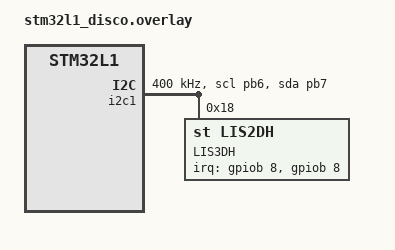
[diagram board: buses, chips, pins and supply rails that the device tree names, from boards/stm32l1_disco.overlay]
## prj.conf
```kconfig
### required for driver but selected by board/SoC already ### 
CONFIG_GPIO=y

### required for driver and not selected by board/SoC ###
CONFIG_I2C=y
CONFIG_SENSOR=y
CONFIG_LIS2DH=y
CONFIG_LIS2DH_TRIGGER_OWN_THREAD=y
CONFIG_LIS2DH_ODR_RUNTIME=y
CONFIG_LIS2DH_ACCEL_RANGE_16G=y
CONFIG_LIS2DH_OPER_MODE_RUNTIME=y
CONFIG_LIS2DH_AXES_RUNTIME=y
CONFIG_PM_DEVICE=y

### Debugging ###
CONFIG_LOG=y
CONFIG_LOG_MODE_IMMEDIATE=y
CONFIG_CBPRINTF_FP_SUPPORT=y
```

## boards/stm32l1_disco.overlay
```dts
&i2c1 {
    clock-frequency = <I2C_BITRATE_FAST>;
    status = "okay";
    pinctrl-0 = <&i2c1_scl_pb6 &i2c1_sda_pb7>;

    lis3dh: lis2dh@18 {
        status = "okay";
        compatible = "st,lis2dh";
        label = "LIS3DH";
        reg = <0x18>;
    	irq-gpios= <&gpiob 8 GPIO_ACTIVE_HIGH>, <&gpiob 8 GPIO_ACTIVE_HIGH>;
    };
};
```

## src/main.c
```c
/*
 * Copyright (c) 2019 Nordic Semiconductor ASA
 *
 * SPDX-License-Identifier: Apache-2.0
 */

#include <stdio.h>
#include <zephyr.h>
#include <device.h>
#include <drivers/sensor.h>
#include <drivers/sensor/lis2dh.h>

static void fetch_and_display(const struct device *sensor)
{
	static unsigned int count;
	struct sensor_value accel[3];
	const char *overrun = "";
	int rc = sensor_sample_fetch(sensor);

	++count;
	if (rc == -EBADMSG) {
		/* Sample overrun.  Ignore in polled mode. */
		if (IS_ENABLED(CONFIG_LIS2DH_TRIGGER)) {
			overrun = "[OVERRUN] ";
		}
		rc = 0;
	}
	if (rc == 0) {
		rc = sensor_channel_get(sensor,
					SENSOR_CHAN_ACCEL_XYZ,
					accel);
	}
	if (rc < 0) {
		printf("ERROR: Update failed: %d\n", rc);
	} else {
		printf("#%u @ %u ms: %sx %f , y %f , z %f\n",
		    	count, k_uptime_get_32(), overrun,
		    	sensor_value_to_double(&accel[0]),
		    	sensor_value_to_double(&accel[1]),
		    	sensor_value_to_double(&accel[2]));
	}
}

#if CONFIG_LIS2DH_ODR_RUNTIME
void ODR_set(const struct device *sensor, uint16_t val1){
	const struct sensor_value ODR_value = {val1, 0}; //0, 1, 10, 25, 50, 100, 200, 400, 1620, 1344, 5376

	int status = sensor_attr_set(
		sensor,
		SENSOR_CHAN_ACCEL_XYZ,
		SENSOR_ATTR_SAMPLING_FREQUENCY,
		&ODR_value 
	);
	if(unlikely(status < 0)){
		printf("Failed to set ODR (%u) with erno: %i\n", ODR_value.val1, status);
	} else if(ODR_value.val1 == 0){
		printf("\033[1;34mSet ODR to \033[1;35m0\033[1;36m (power-down)\033[0m\n");
	} else {
		printf("\033[1;34mSet ODR to \033[1;35m%u\033[0m\n", ODR_value.val1);
	}
	
}
#endif

#if CONFIG_LIS2DH_TRIGGER
void slope_TH_set(const struct device *sensor, uint16_t val1, uint16_t val2){
	const struct sensor_value slope_TH_value = {val1, val2};
	
	int status = sensor_attr_set(sensor,
		SENSOR_CHAN_ACCEL_XYZ,
		SENSOR_ATTR_SLOPE_TH,
		&slope_TH_value
	);

	if(status < 0){
		printf("Failed to set SLOPE_TH (%u) with erno: %i", slope_TH_value.val1, status);
	}
}

void slope_DUR_set(const struct device *sensor, uint8_t val1){
	const struct sensor_value slope_DUR_value = {val1, 0};
	
	int status = sensor_attr_set(sensor,
		SENSOR_CHAN_ACCEL_XYZ,
		SENSOR_ATTR_SLOPE_DUR,
		&slope_DUR_value
	);

	if(status < 0){
		printf("Failed to set SLOPE_DUR (%u) with erno: %i", slope_DUR_value.val1, status);
	}
}

static void trigger_handler(const struct device *dev,
			    struct sensor_trigger *trig)
{
	fetch_and_display(dev);
}
#endif

void act_TH_set(const struct device *sensor, uint16_t val1, uint16_t val2){
	const struct sensor_value act_TH_value = {val1, val2};
	
	int status = sensor_attr_set(sensor,
		SENSOR_CHAN_ACCEL_XYZ,
		SENSOR_ATTR_LIS2DH_ACT_TH,
		&act_TH_value
	);

	if(status < 0){
		printf("Failed to set ACT_TH (%u) with erno: %i", act_TH_value.val1, status);
	}
}

void act_DUR_set(const struct device *sensor, uint16_t val1){
	const struct sensor_value act_DUR_value = {val1, 0};
	
	int status = sensor_attr_set(sensor,
		SENSOR_CHAN_ACCEL_XYZ,
		SENSOR_ATTR_LIS2DH_ACT_DUR,
		&act_DUR_value
	);

	if(status < 0){
		printf("Failed to set ACT_DUR (%u) with erno: %i", act_DUR_value.val1, status);
	}
}

void sample_pm_device_cb(const struct device *dev, int status, uint32_t *state, void *arg){
	printf("yeet? dev: %s, status: %i, state: %ls", dev->name, status, state);
}


void main(void)
{
	const struct device *sensor = device_get_binding(DT_LABEL(DT_INST(0, st_lis2dh)));

	if (unlikely(sensor == NULL)) {
		printf("Could not get %s device\n",
		       DT_LABEL(DT_INST(0, st_lis2dh)));
		return;
	}

	//act_TH_set(sensor, 8, 0);
	//act_DUR_set(sensor, 1);
	ODR_set(sensor, (uint16_t)10);

#if CONFIG_LIS2DH_TRIGGER
	struct sensor_trigger trig;
	int rc;

	trig.type = SENSOR_TRIG_DATA_READY;
	trig.chan = SENSOR_CHAN_ACCEL_XYZ;

	rc = sensor_trigger_set(sensor, &trig, trigger_handler);
	if (rc != 0) {
		printf("Failed to set trigger: %d\n", rc);
		return;
	}

	//slope_TH_set(sensor, 8, 0);
	//slope_DUR_set(sensor, 1);
	printf("Waiting for triggers\n");
	k_sleep(K_MSEC(3000));
	while (true) {
		/* power down the sensor */
		pm_device_state_set(sensor, PM_DEVICE_STATE_LOW_POWER, NULL, NULL);
		k_sleep(K_MSEC(1000));
		
		/* re-enable the sensor */
		pm_device_state_set(sensor, PM_DEVICE_STATE_ACTIVE, NULL, NULL);

#if	defined(CONFIG_LIS2DH_AXES_RUNTIME)
		k_sleep(K_MSEC(500));
		lis2dh_axis_set(sensor, SENSOR_CHAN_ACCEL_X, false);
		k_sleep(K_MSEC(500));
		lis2dh_axis_set(sensor, SENSOR_CHAN_ACCEL_X, true);
		lis2dh_axis_set(sensor, SENSOR_CHAN_ACCEL_Y, false);
		k_sleep(K_MSEC(500));
		lis2dh_axis_set(sensor, SENSOR_CHAN_ACCEL_Y, true);
		lis2dh_axis_set(sensor, SENSOR_CHAN_ACCEL_Z, false);
		k_sleep(K_MSEC(500));
		lis2dh_axis_set(sensor, SENSOR_CHAN_ACCEL_Z, true);
#endif
#if defined(CONFIG_LIS2DH_OPER_MODE_RUNTIME)
		k_sleep(K_MSEC(500));
		lis2dh_set_oper_mode(sensor, OPER_MODE_LOW_POWER);
		k_sleep(K_MSEC(500));
		lis2dh_set_oper_mode(sensor, OPER_MODE_HIGH_RES);
		k_sleep(K_MSEC(500));
		lis2dh_set_oper_mode(sensor, OPER_MODE_NORMAL);
#endif
		k_sleep(K_MSEC(1000));
	}
#else /* CONFIG_LIS2DH_TRIGGER */
	printf("Polling at 10 Hz\n");
	while (true) {
		fetch_and_display(sensor);
		k_sleep(K_MSEC(100));
	}
#endif /* CONFIG_LIS2DH_TRIGGER */
}
```
